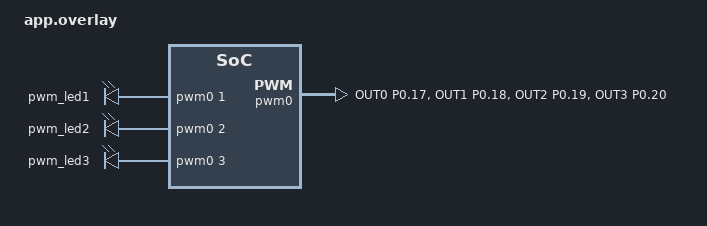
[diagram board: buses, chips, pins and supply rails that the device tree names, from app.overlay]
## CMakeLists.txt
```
cmake_minimum_required(VERSION 3.20.0)
find_package(Zephyr REQUIRED HINTS $ENV{ZEPHYR_BASE})
project(games)

target_sources(app PRIVATE src/main.c)
```

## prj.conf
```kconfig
CONFIG_GPIO=y
CONFIG_PWM=y
CONFIG_ENTROPY_GENERATOR=y
```

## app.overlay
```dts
#include <zephyr/dt-bindings/pinctrl/nrf-pinctrl.h>

&pinctrl {
    pwm0_default_alt: pwm0_default_alt {
        group1 {
            psels = <NRF_PSEL(PWM_OUT0, 0, 17)>,
                    <NRF_PSEL(PWM_OUT1, 0, 18)>,
                    <NRF_PSEL(PWM_OUT2, 0, 19)>,
                    <NRF_PSEL(PWM_OUT3, 0, 20)>;
        };
    };

    pwm0_sleep_alt: pwm0_sleep_alt {
        group1 {
            psels = <NRF_PSEL(PWM_OUT0, 0, 17)>,
                    <NRF_PSEL(PWM_OUT1, 0, 18)>,
                    <NRF_PSEL(PWM_OUT2, 0, 19)>,
                    <NRF_PSEL(PWM_OUT3, 0, 20)>;
            low-power-enable;
        };
    };
};

&pwm0 {
    pinctrl-0 = <&pwm0_default_alt>;
    pinctrl-1 = <&pwm0_sleep_alt>;
    pinctrl-names = "default", "sleep";
};

/ {
    pwmleds {
        compatible = "pwm-leds";
        pwm_led1: pwm_led_1 {
            pwms = <&pwm0 1 PWM_MSEC(20) PWM_POLARITY_INVERTED>;
        };
        pwm_led2: pwm_led_2 {
            pwms = <&pwm0 2 PWM_MSEC(20) PWM_POLARITY_INVERTED>;
        };
        pwm_led3: pwm_led_3 {
            pwms = <&pwm0 3 PWM_MSEC(20) PWM_POLARITY_INVERTED>;
        };
    };

    aliases {
        pwm-led1 = &pwm_led1;
        pwm-led2 = &pwm_led2;
        pwm-led3 = &pwm_led3;
    };
};
```

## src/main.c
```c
#include <zephyr/kernel.h>
#include <zephyr/device.h>
#include <zephyr/devicetree.h>
#include <zephyr/drivers/gpio.h>
#include <zephyr/drivers/pwm.h>
#include <zephyr/drivers/entropy.h>
#include <zephyr/sys/util.h>
#include <stdbool.h>

#define NUM_LEDS             4
#define TICK_MS              20

#define HOLD_ALL_MS          3000
#define GET_READY_MS         1000
#define ROUND_COMPLETE_MS    1000
#define LAST_LED_SHOW_MS     300

#define BREATH_HALF_STEPS    30
#define PATTERN_FLASH_ON_MS  400
#define PATTERN_SHOW_GAP_MS  300
#define MAX_PATTERN          32
#define INPUT_TIMEOUT_MS     4000
#define GAMEOVER_FLASH_COUNT 6

#define DEBOUNCE_MS           300   /* change to 500 if you want it stricter */

static const struct pwm_dt_spec pwm_leds[NUM_LEDS] = {
    PWM_DT_SPEC_GET(DT_ALIAS(pwm_led0)),
    PWM_DT_SPEC_GET(DT_ALIAS(pwm_led1)),
    PWM_DT_SPEC_GET(DT_ALIAS(pwm_led2)),
    PWM_DT_SPEC_GET(DT_ALIAS(pwm_led3)),
};

static const struct gpio_dt_spec buttons[NUM_LEDS] = {
    GPIO_DT_SPEC_GET(DT_ALIAS(sw0), gpios),
    GPIO_DT_SPEC_GET(DT_ALIAS(sw1), gpios),
    GPIO_DT_SPEC_GET(DT_ALIAS(sw2), gpios),
    GPIO_DT_SPEC_GET(DT_ALIAS(sw3), gpios),
};

static struct gpio_callback button_cb_data[NUM_LEDS];
static volatile bool button_pressed[NUM_LEDS];
static volatile bool button_just_pressed[NUM_LEDS];
static volatile int debounce_timer_ms[NUM_LEDS];

/* NEW: talk directly to the board's real hardware random number chip */
static const struct device *entropy_dev;

static uint8_t random_led(void)
{
    uint8_t byte = 0;
    entropy_get_entropy(entropy_dev, &byte, 1);
    return byte % NUM_LEDS;
}

static void button_isr(const struct device *dev, struct gpio_callback *cb, uint32_t pins)
{
    ARG_UNUSED(dev);
    ARG_UNUSED(cb);
    for (int i = 0; i < NUM_LEDS; i++) {
        if (pins & BIT(buttons[i].pin)) {
            bool now_pressed = gpio_pin_get_dt(&buttons[i]);
            button_pressed[i] = now_pressed;
            if (now_pressed && debounce_timer_ms[i] <= 0) {
                button_just_pressed[i] = true;
                debounce_timer_ms[i] = DEBOUNCE_MS;
            }
        }
    }
}

static void led_set(int i, bool on)
{
    pwm_set_pulse_dt(&pwm_leds[i], on ? pwm_leds[i].period : 0);
}

static void led_set_percent(int i, int percent)
{
    uint32_t pulse = (uint32_t)((uint64_t)pwm_leds[i].period * percent / 100);
    pwm_set_pulse_dt(&pwm_leds[i], pulse);
}

static void all_leds_off(void)
{
    for (int i = 0; i < NUM_LEDS; i++) {
        led_set(i, false);
    }
}

static void all_leds_on(void)
{
    for (int i = 0; i < NUM_LEDS; i++) {
        led_set(i, true);
    }
}

enum game_state {
    STATE_IDLE,
    STATE_GET_READY,
    STATE_SHOW_PATTERN,
    STATE_WAIT_INPUT,
    STATE_ROUND_COMPLETE,
    STATE_GAME_OVER,
};

static enum game_state state = STATE_IDLE;
static int breath_phase[NUM_LEDS];
static int hold_all_timer_ms;

static int get_ready_timer_ms;
static bool get_ready_led_on;

static uint8_t pattern[MAX_PATTERN];
static int pattern_length;
static int show_timer_ms;
static int input_index;
static int input_timeout_timer_ms;

static int round_complete_timer_ms;
static int last_correct_led = -1;

static int gameover_flash_count;
static int gameover_timer_ms;
static bool gameover_led_on;

static void start_new_game(void)
{
    pattern_length = 1;
    pattern[0] = random_led();
    show_timer_ms = 0;
    all_leds_off();
    state = STATE_SHOW_PATTERN;
}

static void extend_pattern(void)
{
    pattern[pattern_length] = random_led();
    pattern_length++;
    show_timer_ms = 0;
    all_leds_off();
    state = STATE_SHOW_PATTERN;
}

int main(void)
{
    entropy_dev = DEVICE_DT_GET(DT_CHOSEN(zephyr_entropy));
    if (!device_is_ready(entropy_dev)) {
        return 0;
    }

    for (int i = 0; i < NUM_LEDS; i++) {
        if (!pwm_is_ready_dt(&pwm_leds[i])) {
            return 0;
        }
        led_set(i, false);
    }

    for (int i = 0; i < NUM_LEDS; i++) {
        if (!gpio_is_ready_dt(&buttons[i])) {
            return 0;
        }
        gpio_pin_configure_dt(&buttons[i], GPIO_INPUT);
        gpio_pin_interrupt_configure_dt(&buttons[i], GPIO_INT_EDGE_BOTH);
        gpio_init_callback(&button_cb_data[i], button_isr, BIT(buttons[i].pin));
        gpio_add_callback(buttons[i].port, &button_cb_data[i]);
    }

    while (1) {
        bool pressed[NUM_LEDS];
        bool just_pressed[NUM_LEDS];

        for (int i = 0; i < NUM_LEDS; i++) {
            pressed[i] = button_pressed[i];
            just_pressed[i] = button_just_pressed[i];
            button_just_pressed[i] = false;
        }

        for (int i = 0; i < NUM_LEDS; i++) {
            if (debounce_timer_ms[i] > 0) {
                debounce_timer_ms[i] -= TICK_MS;
            }
        }

        switch (state) {

        case STATE_IDLE: {
            bool all_four = pressed[0] && pressed[1] && pressed[2] && pressed[3];

            if (all_four) {
                hold_all_timer_ms += TICK_MS;
                if (hold_all_timer_ms >= HOLD_ALL_MS) {
                    hold_all_timer_ms = 0;
                    get_ready_timer_ms = 0;
                    get_ready_led_on = false;
                    all_leds_off();
                    state = STATE_GET_READY;
                    break;
                }
            } else {
                hold_all_timer_ms = 0;
            }

            for (int i = 0; i < NUM_LEDS; i++) {
                if (pressed[i]) {
                    breath_phase[i] = (breath_phase[i] + 1) % (2 * BREATH_HALF_STEPS);
                    int p = breath_phase[i];
                    int percent = (p < BREATH_HALF_STEPS)
                        ? (p * 100 / BREATH_HALF_STEPS)
                        : ((2 * BREATH_HALF_STEPS - p) * 100 / BREATH_HALF_STEPS);
                    led_set_percent(i, percent);
                } else {
                    breath_phase[i] = 0;
                    led_set(i, false);
                }
            }
            break;
        }

        case STATE_GET_READY: {
            get_ready_timer_ms += TICK_MS;

            if ((get_ready_timer_ms / 150) % 2 == 0) {
                if (!get_ready_led_on) {
                    all_leds_on();
                    get_ready_led_on = true;
                }
            } else {
                if (get_ready_led_on) {
                    all_leds_off();
                    get_ready_led_on = false;
                }
            }

            if (get_ready_timer_ms >= GET_READY_MS) {
                all_leds_off();
                start_new_game();
            }
            break;
        }

        case STATE_SHOW_PATTERN: {
            show_timer_ms += TICK_MS;
            int cycle_len = PATTERN_FLASH_ON_MS + PATTERN_SHOW_GAP_MS;
            int step = show_timer_ms / cycle_len;
            int pos_in_step = show_timer_ms % cycle_len;

            if (step >= pattern_length) {
                all_leds_off();
                input_index = 0;
                input_timeout_timer_ms = 0;
                state = STATE_WAIT_INPUT;
                break;
            }

            int led_to_show = pattern[step];
            for (int i = 0; i < NUM_LEDS; i++) {
                led_set(i, (i == led_to_show) && (pos_in_step < PATTERN_FLASH_ON_MS));
            }
            break;
        }

        case STATE_WAIT_INPUT: {
            input_timeout_timer_ms += TICK_MS;

            int pressed_led = -1;
            for (int i = 0; i < NUM_LEDS; i++) {
                if (just_pressed[i]) {
                    pressed_led = i;
                }
            }

            if (pressed_led >= 0) {
                input_timeout_timer_ms = 0;
                led_set(pressed_led, true);

                if (pressed_led == pattern[input_index]) {
                    input_index++;

                    if (input_index >= pattern_length) {
                        last_correct_led = pressed_led;
                        round_complete_timer_ms = 0;
                        state = STATE_ROUND_COMPLETE;
                    }
                } else {
                    all_leds_off();
                    gameover_flash_count = 0;
                    gameover_timer_ms = 0;
                    gameover_led_on = false;
                    state = STATE_GAME_OVER;
                }
            } else {
                for (int i = 0; i < NUM_LEDS; i++) {
                    if (!pressed[i]) {
                        led_set(i, false);
                    }
                }
                if (input_timeout_timer_ms >= INPUT_TIMEOUT_MS) {
                    all_leds_off();
                    gameover_flash_count = 0;
                    gameover_timer_ms = 0;
                    gameover_led_on = false;
                    state = STATE_GAME_OVER;
                }
            }
            break;
        }

        case STATE_ROUND_COMPLETE: {
            round_complete_timer_ms += TICK_MS;

            if (round_complete_timer_ms == LAST_LED_SHOW_MS) {
                all_leds_off();
            }

            if (round_complete_timer_ms >= ROUND_COMPLETE_MS) {
                extend_pattern();
            }
            break;
        }

        case STATE_GAME_OVER: {
            gameover_timer_ms += TICK_MS;
            if (gameover_timer_ms >= 150) {
                gameover_timer_ms = 0;
                gameover_led_on = !gameover_led_on;
                for (int i = 0; i < NUM_LEDS; i++) {
                    led_set(i, gameover_led_on);
                }
                if (!gameover_led_on) {
                    gameover_flash_count++;
                }
            }
            if (gameover_flash_count >= GAMEOVER_FLASH_COUNT) {
                all_leds_off();
                pattern_length = 0;
                state = STATE_IDLE;
            }
            break;
        }
        }

        k_msleep(TICK_MS);
    }

    return 0;
}
```
